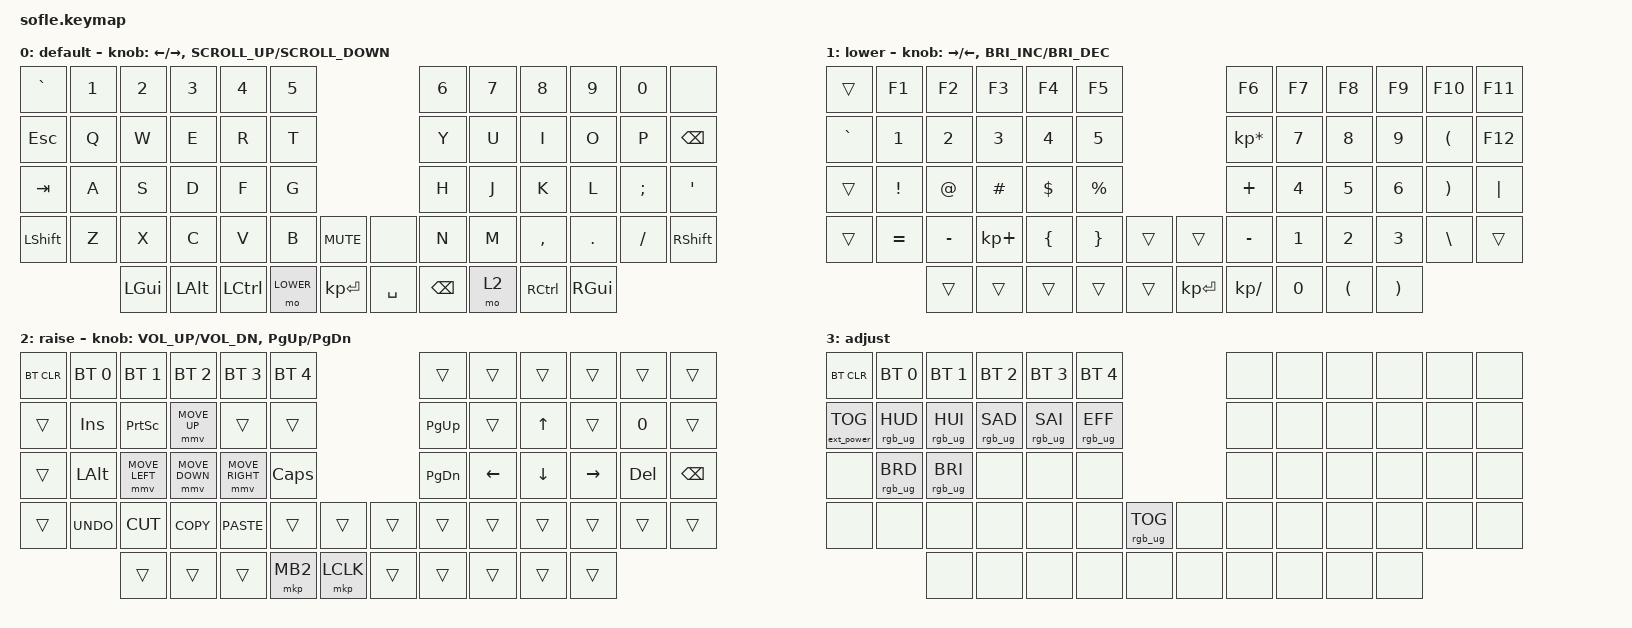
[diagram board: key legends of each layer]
/*
 * Copyright (c) 2020 The ZMK Contributors
 *
 * SPDX-License-Identifier: MIT
 */

#include <behaviors.dtsi>
#include <dt-bindings/zmk/bt.h>
#include <dt-bindings/zmk/ext_power.h>
#include <dt-bindings/zmk/keys.h>
#include <dt-bindings/zmk/pointing.h>
#include <dt-bindings/zmk/rgb.h>

#define BASE 0
#define LOWER 1
#define RAISE 2
#define ADJUST 3

/ {
    // Activate ADJUST layer by pressing raise and lower

    conditional_layers {
        compatible = "zmk,conditional-layers";

        adjust_layer {
            if-layers = <LOWER RAISE>;
            then-layer = <ADJUST>;
        };
    };

    combos {
        compatible = "zmk,combos";

        a-z {
            bindings = <&kp NUMBER_6>;
            key-positions = <39 40>;
            slow-release;
            layers = <0>;
        };
    };

    keymap {
        compatible = "zmk,keymap";

        default_layer {
            display-name = "default";

            // ------------------------------------------------------------------------------------------------------------
            // |   `   |  1  |  2  |  3   |  4   |  5   |                   |  6   |  7    |  8    |  9   |   0   |  F5   |
            // |  ESC  |  Q  |  W  |  E   |  R   |  T   |                   |  Y   |  U    |  I    |  O   |   P   | BKSPC |
            // |  TAB  |  A  |  S  |  D   |  F   |  G   |                   |  H   |  J    |  K    |  L   |   ;   |   '   |
            // | SHIFT |  Z  |  X  |  C   |  V   |  B   |  MUTE  |  |       |  N   |  M    |  ,    |  .   |   /   | SHIFT |
            //               | GUI | ALT  | CTRL | LOWER|  ENTER |  | SPACE | RAISE| CTRL  | ALT   | GUI  |

            bindings = <
&kp GRAVE  &kp N1  &kp N2    &kp N3    &kp N4     &kp N5                                &kp N6         &kp N7  &kp N8             &kp N9    &kp N0         &none
&kp ESC    &kp Q   &kp W     &kp E     &kp R      &kp T                                 &kp Y          &kp U   &kp I              &kp O     &kp P          &kp BSPC
&kp TAB    &kp A   &kp S     &kp D     &kp F      &kp G                                 &kp H          &kp J   &kp K              &kp L     &kp SEMICOLON  &kp SQT
&kp LSHFT  &kp Z   &kp X     &kp C     &kp V      &kp B      &kp C_MUTE      &none      &kp N          &kp M   &kp COMMA          &kp DOT   &kp FSLH       &kp RSHFT
                   &kp LGUI  &kp LALT  &kp LCTRL  &mo LOWER  &kp KP_ENTER    &kp SPACE  &kp BACKSPACE  &mo 2   &kp RIGHT_CONTROL  &kp RGUI
            >;

            sensor-bindings =
                <&inc_dec_kp LEFT RIGHT>,
                <&inc_dec_kp K_SCROLL_UP K_SCROLL_DOWN>;
        };

        lower_layer {
            display-name = "lower";

            // TODO: Some binds are waiting for shifted keycode support.
            // ------------------------------------------------------------------------------------------------------------
            // |       |  F1 |  F2 |  F3  |  F4  |  F5  |                   |  F6  |  F7   |  F8   |  F9  |  F10  |  F11  |
            // |   `   |  1  |  2  |  3   |  4   |  5   |                   |  6   |  7    |  8    |  9   |   0   |  F12  |
            // |       |  !  |  @  |  #   |  $   |  %   |                   |  ^   |  &    |  *    |  (   |   )   |   |   |
            // |       |  =  |  -  |  +   |  {   |  }   |        |  |       |  [   |  ]    |  ;    |  :   |   \   |       |
            //               |     |      |      |      |        |  |       |      |       |       |      |

            bindings = <
&trans     &kp F1     &kp F2     &kp F3       &kp F4    &kp F5                             &kp F6           &kp F7        &kp F8        &kp F9        &kp F10   &kp F11
&kp GRAVE  &kp N1     &kp N2     &kp N3       &kp N4    &kp N5                             &kp KP_MULTIPLY  &kp N7        &kp N8        &kp N9        &kp LPAR  &kp F12
&trans     &kp EXCL   &kp AT     &kp HASH     &kp DLLR  &kp PRCNT                          &kp PLUS         &kp NUMBER_4  &kp N5        &kp NUMBER_6  &kp RPAR  &kp PIPE
&trans     &kp EQUAL  &kp MINUS  &kp KP_PLUS  &kp LBRC  &kp RBRC   &trans    &trans        &kp MINUS        &kp NUMBER_1  &kp NUMBER_2  &kp NUMBER_3  &kp BSLH  &trans
                      &trans     &trans       &trans    &trans     &trans    &kp KP_ENTER  &kp KP_DIVIDE    &kp N0        &kp LPAR      &kp RPAR
            >;

            sensor-bindings =
                <&inc_dec_kp RIGHT_ARROW LEFT_ARROW>,
                <&inc_dec_kp C_BRIGHTNESS_INC C_BRIGHTNESS_DEC>;
        };

        raise_layer {
            display-name = "raise";

            // ------------------------------------------------------------------------------------------------------------
            // | BTCLR | BT1  | BT2  |  BT3  |  BT4  |  BT5 |                |      |      |       |      |       |       |
            // |       | INS  | PSCR | GUI   |       |      |                | PGUP |      |   ^   |      |       |       |
            // |       | ALT  | CTRL | SHIFT |       | CAPS |                | PGDN |   <- |   v   |  ->  |  DEL  | BKSPC |
            // |       | UNDO | CUT  | COPY  | PASTE |      |      |  |      |      |      |       |      |       |       |
            //                |      |       |       |      |      |  |      |      |      |       |      |

            bindings = <
&bt BT_CLR  &bt BT_SEL 0  &bt BT_SEL 1    &bt BT_SEL 2    &bt BT_SEL 3     &bt BT_SEL 4                       &trans     &trans    &trans    &trans     &trans   &trans
&trans      &kp INS       &kp PSCRN       &mmv MOVE_UP    &trans           &trans                             &kp PG_UP  &trans    &kp UP    &trans     &kp N0   &trans
&trans      &kp LALT      &mmv MOVE_LEFT  &mmv MOVE_DOWN  &mmv MOVE_RIGHT  &kp CLCK                           &kp PG_DN  &kp LEFT  &kp DOWN  &kp RIGHT  &kp DEL  &kp BSPC
&trans      &kp K_UNDO    &kp K_CUT       &kp K_COPY      &kp K_PASTE      &trans        &trans       &trans  &trans     &trans    &trans    &trans     &trans   &trans
                          &trans          &trans          &trans           &mkp MB2      &mkp LCLK    &trans  &trans     &trans    &trans    &trans
            >;

            sensor-bindings = <&inc_dec_kp C_VOL_UP C_VOL_DN &inc_dec_kp PG_UP PG_DN>;
        };

        adjust_layer {
            // ----------------------------------------------------------------------------------------------------------------------------
            // | BTCLR  |  BT1    |  BT2    |   BT3   |   BT4   |   BT5   |                  |      |      |       |      |       |       |
            // | EXTPWR | RGB_HUD | RGB_HUI | RGB_SAD | RGB_SAI | RGB_EFF |                  |      |      |       |      |       |       |
            // |        | RGB_BRD | RGB_BRI |         |         |         |                  |      |      |       |      |       |       |
            // |        |         |         |         |         |         | RGB_TOG | |      |      |      |       |      |       |       |
            //                    |         |         |         |         |         | |      |      |      |       |      |

            display-name = "adjust";
            bindings = <
&bt BT_CLR         &bt BT_SEL 0     &bt BT_SEL 1     &bt BT_SEL 2     &bt BT_SEL 3     &bt BT_SEL 4                               &none  &none  &none  &none  &none  &none
&ext_power EP_TOG  &rgb_ug RGB_HUD  &rgb_ug RGB_HUI  &rgb_ug RGB_SAD  &rgb_ug RGB_SAI  &rgb_ug RGB_EFF                            &none  &none  &none  &none  &none  &none
&none              &rgb_ug RGB_BRD  &rgb_ug RGB_BRI  &none            &none            &none                                      &none  &none  &none  &none  &none  &none
&none              &none            &none            &none            &none            &none            &rgb_ug RGB_TOG    &none  &none  &none  &none  &none  &none  &none
                                    &none            &none            &none            &none            &none              &none  &none  &none  &none  &none
            >;
        };
    };
};
